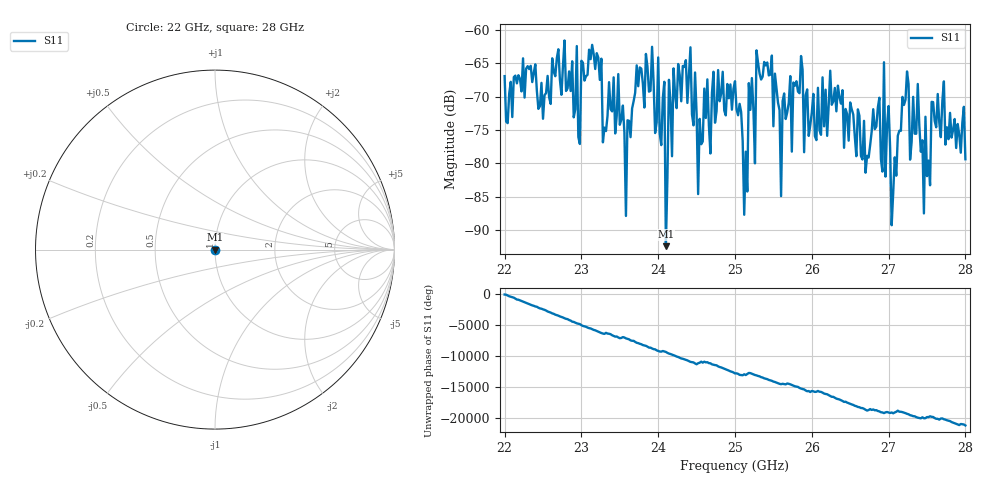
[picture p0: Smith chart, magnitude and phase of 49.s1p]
#  HZ  S  RI  R  50.00
! Rohde & Schwarz ZVA40 4Ports - Version 3.90 - 1145.1110k42 SN: 100403
! Date: 2023-10-04 09:20:48
! Measurement: S12
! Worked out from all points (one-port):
!   301 points, 22 GHz to 28 GHz, reference 50 ohm
!   lowest |S11| = -92.4 dB at 24.1 GHz (marker M1), VSWR 1.00, Z = 50 + j0.000131 ohm
!   |S11| at or under -10 dB: start of sweep to end of sweep
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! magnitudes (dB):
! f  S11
! 22 GHz  -66.9
! 22.76 GHz  -65.4
! 23.5 GHz  -74.2
! 23.92 GHz  -62.5
! 23.96 GHz  -75.4
! 24.08 GHz  -67.8
! 24.1 GHz  -92.4
! 24.26 GHz  -65.1
! 24.42 GHz  -62.6
! 24.52 GHz  -84.6
! 25 GHz  -67.7
! 25.12 GHz  -87.7
! 25.22 GHz  -67.2
! 25.26 GHz  -80.0
! 25.28 GHz  -63.1
! 25.6 GHz  -84.9
! 25.76 GHz  -67.9
! 25.86 GHz  -63.9
! 25.9 GHz  -78.3
! 26.5 GHz  -70.9
! 26.92 GHz  -81.2
! 26.94 GHz  -64.9
! 26.96 GHz  -82.0
! 27.1 GHz  -81.8
! 27.26 GHz  -68.1
! 27.28 GHz  -79.4
! 27.72 GHz  -67.7
! 28 GHz  -79.4
